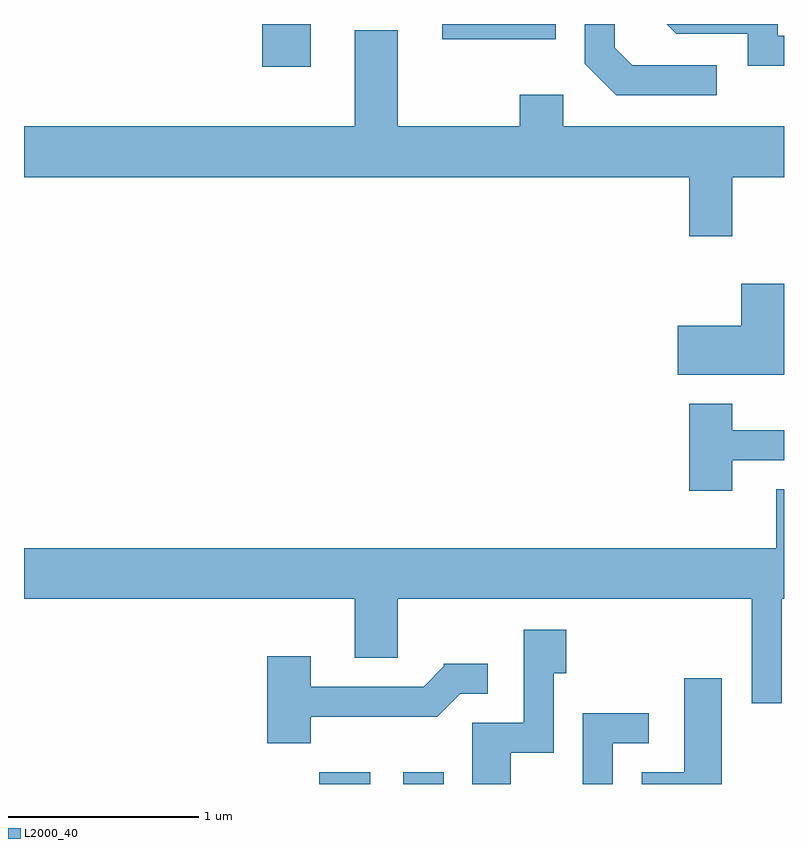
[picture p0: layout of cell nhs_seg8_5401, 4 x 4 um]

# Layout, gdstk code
import gdstk
lib = gdstk.Library(unit=1e-6, precision=1e-09)
def R(c, l, rs):  # rectangles x0, y0, x1, y1
    for r in rs: c.add(gdstk.rectangle(r[:2], r[2:], *l))
def P(c, l, *ps):  # polygons
    for p in ps: c.add(gdstk.Polygon(p, *l))
L2000_40 = (2000, 40)

nhs_seg8_5401 = lib.new_cell('nhs_seg8_5401')
R(nhs_seg8_5401, L2000_40, [(349.166,1824.342,349.434,1824.404), (349.606,1824.342,349.819,1824.404), (348.866,1828.116,349.119,1828.342), (349.811,1828.261,350.409,1828.342)])
P(nhs_seg8_5401, L2000_40, [(351.258,1828.124),(350.812,1828.124),(350.719,1828.217),(350.719,1828.342),(350.561,1828.342),(350.561,1828.134),(350.729,1827.966),(351.258,1827.966)],
  [(351.611,1828.279),(351.579,1828.279),(351.579,1828.342),(350.993,1828.342),(351.044,1828.291),(351.421,1828.291),(351.421,1828.121),(351.611,1828.121)],
  [(351.339,1827.536),(351.611,1827.536),(351.611,1827.804),(350.449,1827.804),(350.449,1827.969),(350.221,1827.969),(350.221,1827.804),(349.579,1827.804),(349.579,1828.309),(349.351,1828.309),(349.351,1827.804),(347.611,1827.804),(347.611,1827.536),(351.111,1827.536),(351.111,1827.226),(351.339,1827.226)],
  [(351.611,1826.974),(351.386,1826.974),(351.386,1826.754),(351.051,1826.754),(351.051,1826.496),(351.611,1826.496)],
  [(351.339,1826.046),(351.611,1826.046),(351.611,1826.204),(351.339,1826.204),(351.339,1826.344),(351.111,1826.344),(351.111,1825.886),(351.339,1825.886)],
  [(351.599,1825.316),(351.611,1825.316),(351.611,1825.894),(351.571,1825.894),(351.571,1825.584),(347.611,1825.584),(347.611,1825.316),(349.351,1825.316),(349.351,1825.006),(349.579,1825.006),(349.579,1825.316),(351.441,1825.316),(351.441,1824.768),(351.599,1824.768)],
  [(350.174,1824.506),(350.399,1824.506),(350.399,1824.926),(350.464,1824.926),(350.464,1825.154),(350.241,1825.154),(350.241,1824.664),(349.971,1824.664),(349.971,1824.342),(350.174,1824.342)],
  [(349.119,1824.696),(349.787,1824.696),(349.907,1824.816),(350.053,1824.816),(350.053,1824.974),(349.82,1824.974),(349.82,1824.961),(349.714,1824.854),(349.119,1824.854),(349.119,1825.014),(348.891,1825.014),(348.891,1824.556),(349.119,1824.556)],
  [(351.284,1824.899),(351.086,1824.899),(351.086,1824.404),(350.861,1824.404),(350.861,1824.342),(351.284,1824.342)],
  [(350.709,1824.556),(350.898,1824.556),(350.898,1824.714),(350.551,1824.714),(350.551,1824.342),(350.709,1824.342)])

lib.write_gds('nhs_seg8_5401.gds')
